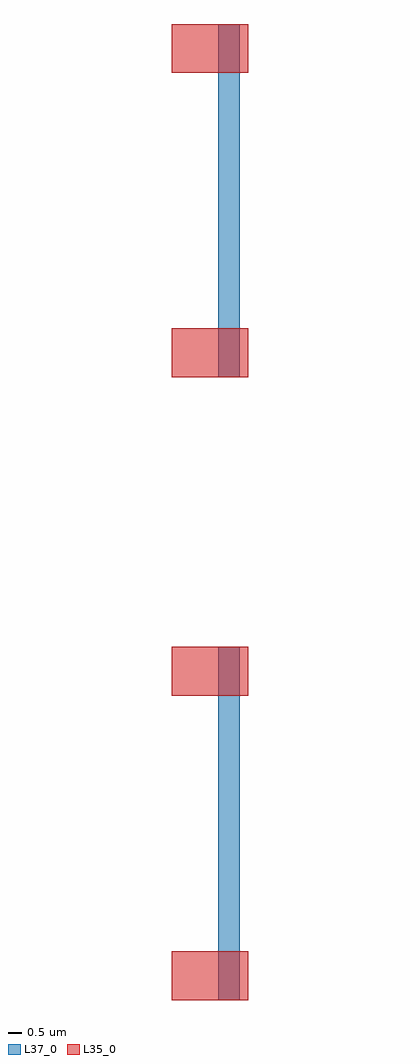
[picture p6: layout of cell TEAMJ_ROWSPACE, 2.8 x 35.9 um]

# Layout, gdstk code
import gdstk
lib = gdstk.Library(unit=1e-6, precision=1e-09)
def R(c, l, rs):  # rectangles x0, y0, x1, y1
    for r in rs: c.add(gdstk.rectangle(r[:2], r[2:], *l))
L35_0 = (35, 0)
L37_0 = (37, 0)

tie0_h = lib.new_cell('TIE0_H')
R(tie0_h, L35_0, [(0,0,2.8,1.8), (0,11.2,2.8,13)])
tie0_h.add(gdstk.FlexPath([(2.1,0),(2.1,13)], 0.8, ends="flush", simple_path=True, layer=37, datatype=0))  # L37_0
tie0_h.add(gdstk.Label('TIE0', (1.4,6.5), layer=61, texttype=0))
tie0_h.add(gdstk.Label('Q', (2.1,13), layer=37, texttype=0))
tie0_h.add(gdstk.Label('Q', (2.1,0), layer=37, texttype=0))
tie0_h.add(gdstk.Label('vdd', (0,12.1), layer=35, texttype=0))
tie0_h.add(gdstk.Label('vdd', (2.8,12.1), layer=35, texttype=0))
tie0_h.add(gdstk.Label('gnd', (0,0.9), layer=35, texttype=0))
tie0_h.add(gdstk.Label('gnd', (2.8,0.9), layer=35, texttype=0))

teamj_rowspace = lib.new_cell('TEAMJ_ROWSPACE')
teamj_rowspace.add(gdstk.Reference(tie0_h, (21.35,6.7)))
teamj_rowspace.add(gdstk.Reference(tie0_h, (21.35,29.6)))

lib.write_gds('TEAMJ_ROWSPACE.gds')
